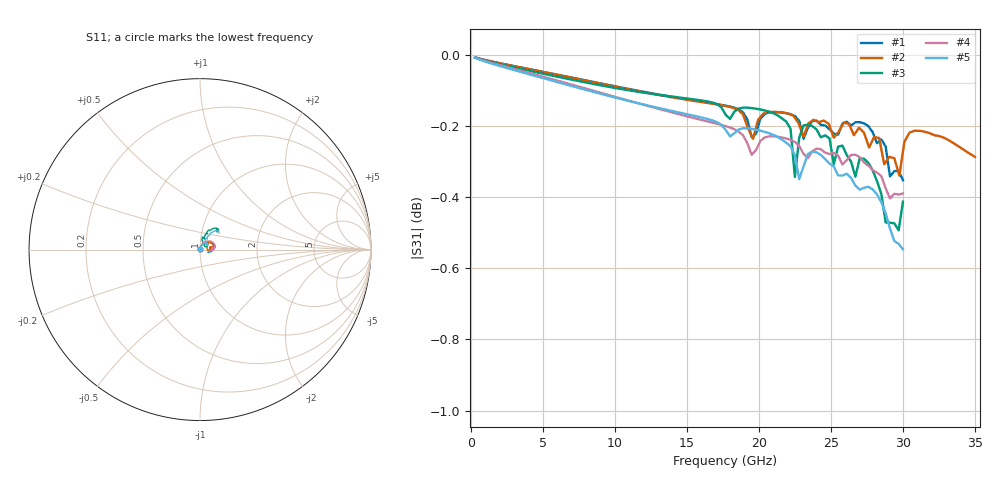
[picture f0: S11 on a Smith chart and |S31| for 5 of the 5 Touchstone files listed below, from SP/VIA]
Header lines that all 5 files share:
! List of port names and net name(s): example Port n = <port_name> <net_name1> <net_name2> ...
! Port 1 = P1 P3 gnd!
! Port 2 = P2 N__0 gnd!
! Port 3 = P3 P3 P7
! Port 4 = P4 N__0 P8
# hz S ri R 50
! 4 Port Network Data from data block
! freq  reS11  imS11  reS12  imS12  reS13  imS13  reS14  imS14
!  reS21  imS21  reS22  imS22  reS23  imS23  reS24  imS24
!  reS31  imS31  reS32  imS32  reS33  imS33  reS34  imS34
!  reS41  imS41  reS42  imS42  reS43  imS43  reS44  imS44
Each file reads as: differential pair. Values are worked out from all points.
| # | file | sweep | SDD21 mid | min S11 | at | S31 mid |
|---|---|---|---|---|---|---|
| 1 | GL102_400um_diff.s4p | 300 MHz to 30 GHz | -0.1 dB at 15.3 GHz | -51.5 dB | 300 MHz | -0.1 dB at 15.3 GHz |
| 2 | GL102_400um_diff_35.s4p | 350 MHz to 35 GHz | -0.1 dB at 17.85 GHz | -50.0 dB | 350 MHz | -0.1 dB at 17.85 GHz |
| 3 | GL102_800um_diff.s4p | 300 MHz to 30 GHz | -0.1 dB at 15.3 GHz | -51.8 dB | 300 MHz | -0.1 dB at 15.3 GHz |
| 4 | GX13_400um_diff.s4p | 300 MHz to 30 GHz | -0.2 dB at 15.3 GHz | -51.6 dB | 300 MHz | -0.2 dB at 15.3 GHz |
| 5 | GX13_800um_diff.s4p | 300 MHz to 30 GHz | -0.2 dB at 15.3 GHz | -53.0 dB | 300 MHz | -0.2 dB at 15.3 GHz |
